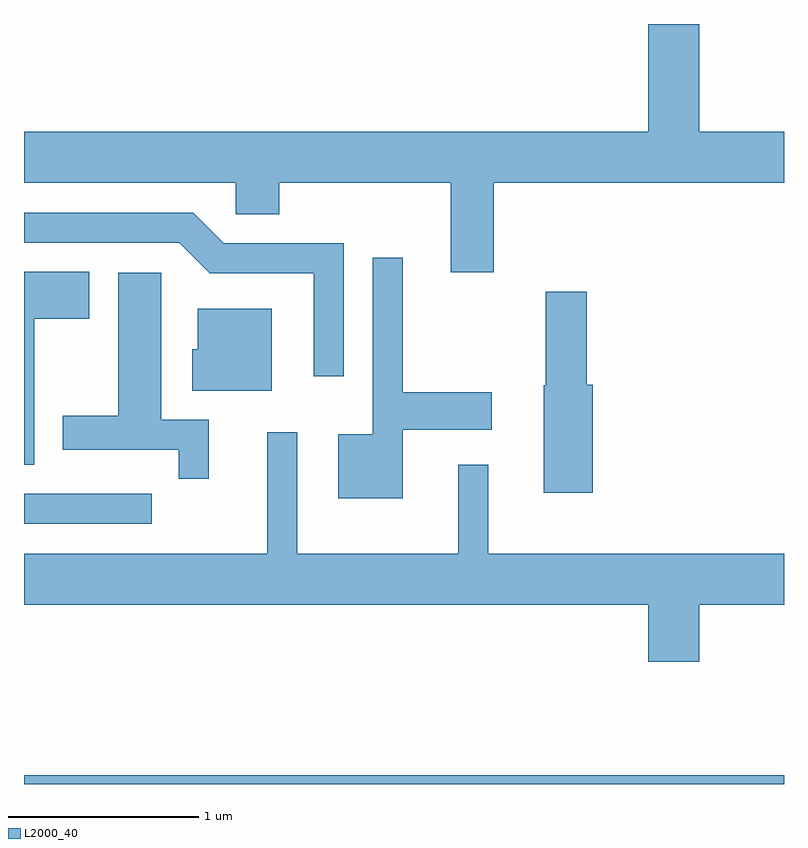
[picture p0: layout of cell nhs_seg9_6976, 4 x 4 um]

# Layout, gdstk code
import gdstk
lib = gdstk.Library(unit=1e-6, precision=1e-09)
def R(c, l, rs):  # rectangles x0, y0, x1, y1
    for r in rs: c.add(gdstk.rectangle(r[:2], r[2:], *l))
def P(c, l, *ps):  # polygons
    for p in ps: c.add(gdstk.Polygon(p, *l))
L2000_40 = (2000, 40)

nhs_seg9_6976 = lib.new_cell('nhs_seg9_6976')
R(nhs_seg9_6976, L2000_40, [(391.611,1986.432,395.611,1986.479), (391.611,1987.801,392.283,1987.959)])
P(nhs_seg9_6976, L2000_40, [(394.084,1989.596),(395.611,1989.596),(395.611,1989.864),(395.164,1989.864),(395.164,1990.432),(394.896,1990.432),(394.896,1989.864),(391.611,1989.864),(391.611,1989.596),(392.726,1989.596),(392.726,1989.431),(392.954,1989.431),(392.954,1989.596),(393.856,1989.596),(393.856,1989.126),(394.084,1989.126)],
  [(393.294,1989.279),(392.662,1989.279),(392.502,1989.439),(391.611,1989.439),(391.611,1989.281),(392.429,1989.281),(392.589,1989.121),(393.136,1989.121),(393.136,1988.578),(393.294,1988.578)],
  [(393.604,1988.296),(394.074,1988.296),(394.074,1988.494),(393.604,1988.494),(393.604,1989.203),(393.446,1989.203),(393.446,1988.274),(393.266,1988.274),(393.266,1987.936),(393.604,1987.936)],
  [(391.664,1988.881),(391.954,1988.881),(391.954,1989.129),(391.611,1989.129),(391.611,1988.111),(391.664,1988.111)],
  [(392.584,1988.349),(392.334,1988.349),(392.334,1989.124),(392.106,1989.124),(392.106,1988.369),(391.816,1988.369),(391.816,1988.191),(392.426,1988.191),(392.426,1988.038),(392.584,1988.038)],
  [(394.604,1988.534),(394.574,1988.534),(394.574,1989.024),(394.356,1989.024),(394.356,1988.53),(394.346,1988.53),(394.346,1987.966),(394.604,1987.966)],
  [(392.914,1988.934),(392.526,1988.934),(392.526,1988.719),(392.496,1988.719),(392.496,1988.501),(392.914,1988.501)],
  [(395.164,1987.376),(395.611,1987.376),(395.611,1987.644),(394.054,1987.644),(394.054,1988.113),(393.896,1988.113),(393.896,1987.644),(393.049,1987.644),(393.049,1988.283),(392.891,1988.283),(392.891,1987.644),(391.611,1987.644),(391.611,1987.376),(394.896,1987.376),(394.896,1987.076),(395.164,1987.076)])

lib.write_gds('nhs_seg9_6976.gds')
